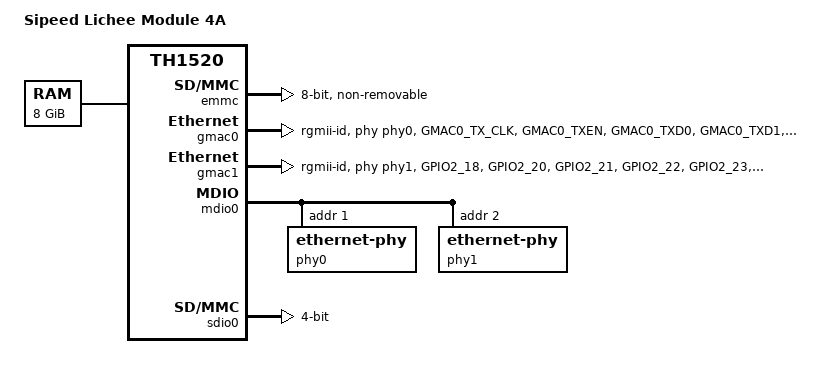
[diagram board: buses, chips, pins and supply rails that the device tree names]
// SPDX-License-Identifier: (GPL-2.0 OR MIT)
/*
 * Copyright (C) 2023 Jisheng Zhang <jszhang@kernel.org>
 */

/dts-v1/;

#include "th1520.dtsi"

/ {
	model = "Sipeed Lichee Module 4A";
	compatible = "sipeed,lichee-module-4a", "thead,th1520";

	aliases {
		ethernet0 = &gmac0;
		ethernet1 = &gmac1;
	};

	memory@0 {
		device_type = "memory";
		reg = <0x0 0x00000000 0x2 0x00000000>;
	};
};

&osc {
	clock-frequency = <24000000>;
};

&osc_32k {
	clock-frequency = <32768>;
};

&aogpio {
	gpio-line-names = "", "", "",
			  "GPIO00",
			  "GPIO04";
};

&dmac0 {
	status = "okay";
};

&emmc {
	bus-width = <8>;
	max-frequency = <198000000>;
	mmc-hs400-1_8v;
	non-removable;
	no-sdio;
	no-sd;
	status = "okay";
};

&gmac0 {
	pinctrl-names = "default";
	pinctrl-0 = <&gmac0_pins>, <&mdio0_pins>;
	phy-handle = <&phy0>;
	phy-mode = "rgmii-id";
	status = "okay";
};

&gmac1 {
	pinctrl-names = "default";
	pinctrl-0 = <&gmac1_pins>;
	phy-handle = <&phy1>;
	phy-mode = "rgmii-id";
	status = "okay";
};

&gpio0 {
	gpio-line-names = "", "", "", "", "", "", "", "", "", "",
			  "", "", "", "", "", "", "", "", "", "",
			  "", "", "", "",
			  "GPIO07",
			  "GPIO08",
			  "",
			  "GPIO01",
			  "GPIO02";
};

&gpio1 {
	gpio-line-names = "", "", "",
			  "GPIO11",
			  "GPIO12",
			  "GPIO13",
			  "GPIO14",
			  "", "", "", "", "", "", "", "", "", "",
			  "", "", "", "", "",
			  "GPIO06";
};

&gpio2 {
	gpio-line-names = "GPIO03",
			  "GPIO05";
};

&gpio3 {
	gpio-line-names = "", "",
			  "GPIO09",
			  "GPIO10";
};

&mdio0 {
	phy0: ethernet-phy@1 {
		reg = <1>;
	};

	phy1: ethernet-phy@2 {
		reg = <2>;
	};
};

&padctrl0_apsys {
	gmac0_pins: gmac0-0 {
		tx-pins {
			pins = "GMAC0_TX_CLK",
			       "GMAC0_TXEN",
			       "GMAC0_TXD0",
			       "GMAC0_TXD1",
			       "GMAC0_TXD2",
			       "GMAC0_TXD3";
			function = "gmac0";
			bias-disable;
			drive-strength = <25>;
			input-disable;
			input-schmitt-disable;
			slew-rate = <0>;
		};

		rx-pins {
			pins = "GMAC0_RX_CLK",
			       "GMAC0_RXDV",
			       "GMAC0_RXD0",
			       "GMAC0_RXD1",
			       "GMAC0_RXD2",
			       "GMAC0_RXD3";
			function = "gmac0";
			bias-disable;
			drive-strength = <1>;
			input-enable;
			input-schmitt-disable;
			slew-rate = <0>;
		};
	};

	gmac1_pins: gmac1-0 {
		tx-pins {
			pins = "GPIO2_18", /* GMAC1_TX_CLK */
			       "GPIO2_20", /* GMAC1_TXEN */
			       "GPIO2_21", /* GMAC1_TXD0 */
			       "GPIO2_22", /* GMAC1_TXD1 */
			       "GPIO2_23", /* GMAC1_TXD2 */
			       "GPIO2_24"; /* GMAC1_TXD3 */
			function = "gmac1";
			bias-disable;
			drive-strength = <25>;
			input-disable;
			input-schmitt-disable;
			slew-rate = <0>;
		};

		rx-pins {
			pins = "GPIO2_19", /* GMAC1_RX_CLK */
			       "GPIO2_25", /* GMAC1_RXDV */
			       "GPIO2_30", /* GMAC1_RXD0 */
			       "GPIO2_31", /* GMAC1_RXD1 */
			       "GPIO3_0",  /* GMAC1_RXD2 */
			       "GPIO3_1";  /* GMAC1_RXD3 */
			function = "gmac1";
			bias-disable;
			drive-strength = <1>;
			input-enable;
			input-schmitt-disable;
			slew-rate = <0>;
		};
	};

	mdio0_pins: mdio0-0 {
		mdc-pins {
			pins = "GMAC0_MDC";
			function = "gmac0";
			bias-disable;
			drive-strength = <13>;
			input-disable;
			input-schmitt-disable;
			slew-rate = <0>;
		};

		mdio-pins {
			pins = "GMAC0_MDIO";
			function = "gmac0";
			bias-disable;
			drive-strength = <13>;
			input-enable;
			input-schmitt-enable;
			slew-rate = <0>;
		};
	};
};

&sdio0 {
	bus-width = <4>;
	max-frequency = <198000000>;
	status = "okay";
};
